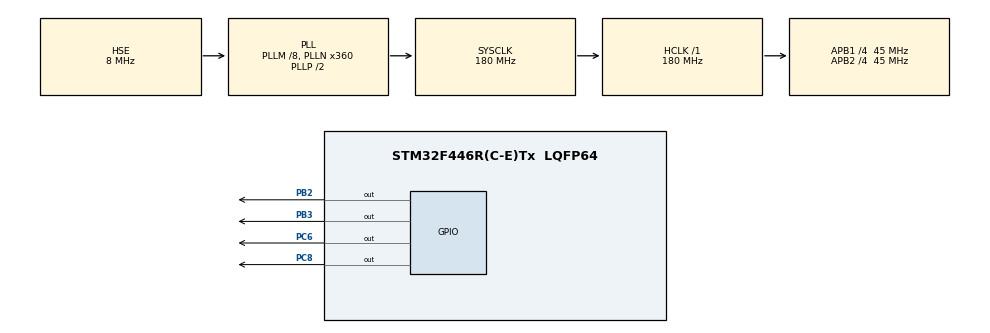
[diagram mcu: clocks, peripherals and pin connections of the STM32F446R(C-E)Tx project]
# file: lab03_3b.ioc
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FREERTOS.Tasks01=defaultTask,24,128,defaultThread,Default,NULL,Dynamic,NULL,NULL
FREERTOS.configUSE_NEWLIB_REENTRANT=1
Mcu.Family=STM32F4
Mcu.Name=STM32F446R(C-E)Tx
Mcu.Package=LQFP64
NVIC.PriorityGroup=NVIC_PRIORITYGROUP_4
NVIC.TIM7_IRQn=true\:15\:0\:false\:false\:true\:false\:false\:true\:true
NVIC.TimeBase=TIM7_IRQn
NVIC.TimeBaseIP=TIM7
PA13.Mode=Serial_Wire
PA13.Signal=SYS_JTMS-SWDIO
PA14.Mode=Serial_Wire
PA14.Signal=SYS_JTCK-SWCLK
PB2.Signal=GPIO_Output
PB3.Signal=GPIO_Output
PC6.Signal=GPIO_Output
PC8.Signal=GPIO_Output
PH0-OSC_IN.Mode=HSE-External-Oscillator
PH0-OSC_IN.Signal=RCC_OSC_IN
PH1-OSC_OUT.Mode=HSE-External-Oscillator
PH1-OSC_OUT.Signal=RCC_OSC_OUT
ProjectManager.HeapSize=0x200
ProjectManager.StackSize=0x400
ProjectManager.TargetToolchain=STM32CubeIDE
RCC.AHBFreq_Value=180000000
RCC.APB1CLKDivider=RCC_HCLK_DIV4
RCC.APB1Freq_Value=45000000
RCC.APB1TimFreq_Value=90000000
RCC.APB2CLKDivider=RCC_HCLK_DIV4
RCC.APB2Freq_Value=45000000
RCC.APB2TimFreq_Value=90000000
RCC.CortexFreq_Value=180000000
RCC.HCLKFreq_Value=180000000
RCC.HSE_VALUE=8000000
RCC.PLLM=8
RCC.PLLN=360
RCC.PLLSourceVirtual=RCC_PLLSOURCE_HSE
RCC.SYSCLKFreq_VALUE=180000000
RCC.SYSCLKSource=RCC_SYSCLKSOURCE_PLLCLK
RCC.USBFreq_Value=180000000
RCC.VCOOutputFreq_Value=360000000
TIM2.AutoReloadPreload=TIM_AUTORELOAD_PRELOAD_ENABLE
TIM2.Prescaler=9000-1
VP_FREERTOS_VS_CMSIS_V2.Mode=CMSIS_V2
VP_SYS_VS_tim7.Mode=TIM7
VP_TIM2_VS_ClockSourceINT.Mode=Internal
board=custom

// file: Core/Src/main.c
/* USER CODE BEGIN Header */
/**
  ******************************************************************************
  * @file           : main.c
  * @brief          : Main program body
  ******************************************************************************
  * @attention
  *
  * Copyright (c) 2026 STMicroelectronics.
  * All rights reserved.
  *
  * This software is licensed under terms that can be found in the LICENSE file
  * in the root directory of this software component.
  * If no LICENSE file comes with this software, it is provided AS-IS.
  *
  ******************************************************************************
  */
/* USER CODE END Header */
#include "main.h"
#include "cmsis_os.h"

TIM_HandleTypeDef htim2;

/* Definitions for defaultTask */
osThreadId_t defaultTaskHandle;
const osThreadAttr_t defaultTask_attributes = {
  .name = "defaultTask",
  .stack_size = 128 * 4,
  .priority = (osPriority_t) osPriorityNormal,
};
/* USER CODE BEGIN PV */
osThreadId_t LEDTaskHandle[4];
const osThreadAttr_t LEDTask_attributes[4] = {{
  .name = "LEDTask",
  .stack_size = 128 * 4,
  .priority = (osPriority_t) osPriorityNormal,
},{
  .name = "LEDTask",
  .stack_size = 128 * 4,
  .priority = (osPriority_t) osPriorityNormal,
},{
  .name = "LEDTask",
  .stack_size = 128 * 4,
  .priority = (osPriority_t) osPriorityNormal,
},{
  .name = "LEDTask",
  .stack_size = 128 * 4,
  .priority = (osPriority_t) osPriorityNormal,
}};

osThreadId_t pwmTaskHandle[4];
const osThreadAttr_t pwmTask_attributes[4] = {{
  .name = "pwmTask",
  .stack_size = 128 * 4,
  .priority = (osPriority_t) osPriorityLow,
  },{
    .name = "pwmTask",
    .stack_size = 128 * 4,
    .priority = (osPriority_t) osPriorityLow,
  },{
    .name = "pwmTask",
    .stack_size = 128 * 4,
    .priority = (osPriority_t) osPriorityLow,
  },{
    .name = "pwmTask",
    .stack_size = 128 * 4,
    .priority = (osPriority_t) osPriorityLow,
  }};

GPIO_TypeDef *ledPort[4] = {GPIOB,GPIOC,GPIOC,GPIOB};
int ledGPIO[4] = {GPIO_PIN_2,GPIO_PIN_6,GPIO_PIN_8,GPIO_PIN_3};
int pwm[4]={0};
int arg[4]={0,1,2,3};
int delayTable[4]={1,2,4,8};
/* USER CODE END PV */

void SystemClock_Config(void);
static void MX_GPIO_Init(void);
static void MX_TIM2_Init(void);
void defaultThread(void *argument);

/* USER CODE BEGIN PFP */
void clearTimer();
uint32_t getTimer();
void uDelay(uint32_t us);

void LEDThread(void *argument);
void pwmThread(void *argument);
/* USER CODE END PFP */

int main(void)
{

  /* USER CODE BEGIN 1 */
  int i;
  /* USER CODE END 1 */

  /* MCU Configuration--------------------------------------------------------*/

  /* Reset of all peripherals, Initializes the Flash interface and the Systick. */
  HAL_Init();

  /* Configure the system clock */
  SystemClock_Config();

  /* Initialize all configured peripherals */
  MX_GPIO_Init();
  MX_TIM2_Init();
  /* USER CODE BEGIN 2 */
  HAL_TIM_Base_Start(&htim2);
  /* USER CODE END 2 */

  /* Init scheduler */
  osKernelInitialize();

  /* Create the thread(s) */
  /* creation of defaultTask */
  defaultTaskHandle = osThreadNew(defaultThread, NULL, &defaultTask_attributes);

  /* USER CODE BEGIN RTOS_THREADS */
  /* add threads, ... */
  osThreadTerminate(defaultTaskHandle);
    for(i=0;i<4;i++){
      LEDTaskHandle[i] = osThreadNew(LEDThread, (void *)&arg[i], &LEDTask_attributes[i]);
      pwmTaskHandle[i] = osThreadNew(pwmThread, (void *)&arg[i], &pwmTask_attributes[i]);
    }
  /* USER CODE END RTOS_THREADS */

  /* USER CODE END RTOS_THREADS */

  /* Start scheduler */
  osKernelStart();

  /* We should never get here as control is now taken by the scheduler */

  /* Infinite loop */
  while (1)
  {

  }
}

void SystemClock_Config(void)
{
  RCC_OscInitTypeDef RCC_OscInitStruct = {0};
  RCC_ClkInitTypeDef RCC_ClkInitStruct = {0};

  /** Configure the main internal regulator output voltage
  */
  __HAL_RCC_PWR_CLK_ENABLE();
  __HAL_PWR_VOLTAGESCALING_CONFIG(PWR_REGULATOR_VOLTAGE_SCALE1);

  /** Initializes the RCC Oscillators according to the specified parameters
  * in the RCC_OscInitTypeDef structure.
  */
  RCC_OscInitStruct.OscillatorType = RCC_OSCILLATORTYPE_HSE;
  RCC_OscInitStruct.HSEState = RCC_HSE_ON;
  RCC_OscInitStruct.PLL.PLLState = RCC_PLL_ON;
  RCC_OscInitStruct.PLL.PLLSource = RCC_PLLSOURCE_HSE;
  RCC_OscInitStruct.PLL.PLLM = 8;
  RCC_OscInitStruct.PLL.PLLN = 360;
  RCC_OscInitStruct.PLL.PLLP = RCC_PLLP_DIV2;
  RCC_OscInitStruct.PLL.PLLQ = 2;
  RCC_OscInitStruct.PLL.PLLR = 2;
  if (HAL_RCC_OscConfig(&RCC_OscInitStruct) != HAL_OK)
  {
    Error_Handler();
  }

  /** Activate the Over-Drive mode
  */
  if (HAL_PWREx_EnableOverDrive() != HAL_OK)
  {
    Error_Handler();
  }

  /** Initializes the CPU, AHB and APB buses clocks
  */
  RCC_ClkInitStruct.ClockType = RCC_CLOCKTYPE_HCLK|RCC_CLOCKTYPE_SYSCLK
                              |RCC_CLOCKTYPE_PCLK1|RCC_CLOCKTYPE_PCLK2;
  RCC_ClkInitStruct.SYSCLKSource = RCC_SYSCLKSOURCE_PLLCLK;
  RCC_ClkInitStruct.AHBCLKDivider = RCC_SYSCLK_DIV1;
  RCC_ClkInitStruct.APB1CLKDivider = RCC_HCLK_DIV4;
  RCC_ClkInitStruct.APB2CLKDivider = RCC_HCLK_DIV4;

  if (HAL_RCC_ClockConfig(&RCC_ClkInitStruct, FLASH_LATENCY_5) != HAL_OK)
  {
    Error_Handler();
  }
}

static void MX_TIM2_Init(void)
{

  TIM_ClockConfigTypeDef sClockSourceConfig = {0};
  TIM_MasterConfigTypeDef sMasterConfig = {0};

  htim2.Instance = TIM2;
  htim2.Init.Prescaler = 9000-1;
  htim2.Init.CounterMode = TIM_COUNTERMODE_UP;
  htim2.Init.Period = 4294967295;
  htim2.Init.ClockDivision = TIM_CLOCKDIVISION_DIV1;
  htim2.Init.AutoReloadPreload = TIM_AUTORELOAD_PRELOAD_ENABLE;
  if (HAL_TIM_Base_Init(&htim2) != HAL_OK)
  {
    Error_Handler();
  }
  sClockSourceConfig.ClockSource = TIM_CLOCKSOURCE_INTERNAL;
  if (HAL_TIM_ConfigClockSource(&htim2, &sClockSourceConfig) != HAL_OK)
  {
    Error_Handler();
  }
  sMasterConfig.MasterOutputTrigger = TIM_TRGO_RESET;
  sMasterConfig.MasterSlaveMode = TIM_MASTERSLAVEMODE_DISABLE;
  if (HAL_TIMEx_MasterConfigSynchronization(&htim2, &sMasterConfig) != HAL_OK)
  {
    Error_Handler();
  }

}

static void MX_GPIO_Init(void)
{
  GPIO_InitTypeDef GPIO_InitStruct = {0};

  /* GPIO Ports Clock Enable */
  __HAL_RCC_GPIOH_CLK_ENABLE();
  __HAL_RCC_GPIOB_CLK_ENABLE();
  __HAL_RCC_GPIOC_CLK_ENABLE();
  __HAL_RCC_GPIOA_CLK_ENABLE();

  /*Configure GPIO pin Output Level */
  HAL_GPIO_WritePin(GPIOB, GPIO_PIN_2|GPIO_PIN_3, GPIO_PIN_RESET);

  /*Configure GPIO pin Output Level */
  HAL_GPIO_WritePin(GPIOC, GPIO_PIN_6|GPIO_PIN_8, GPIO_PIN_RESET);

  /*Configure GPIO pins : PB2 PB3 */
  GPIO_InitStruct.Pin = GPIO_PIN_2|GPIO_PIN_3;
  GPIO_InitStruct.Mode = GPIO_MODE_OUTPUT_PP;
  GPIO_InitStruct.Pull = GPIO_NOPULL;
  GPIO_InitStruct.Speed = GPIO_SPEED_FREQ_LOW;
  HAL_GPIO_Init(GPIOB, &GPIO_InitStruct);

  /*Configure GPIO pins : PC6 PC8 */
  GPIO_InitStruct.Pin = GPIO_PIN_6|GPIO_PIN_8;
  GPIO_InitStruct.Mode = GPIO_MODE_OUTPUT_PP;
  GPIO_InitStruct.Pull = GPIO_NOPULL;
  GPIO_InitStruct.Speed = GPIO_SPEED_FREQ_LOW;
  HAL_GPIO_Init(GPIOC, &GPIO_InitStruct);

}

/* USER CODE BEGIN 4 */
void clearTimer(){
	__HAL_TIM_SetCounter(&htim2,0);
}

uint32_t getTimer(){
	return __HAL_TIM_GetCounter(&htim2);
}

void uDelay(uint32_t us){
	uint32_t start;
	uint32_t finish = (start =__HAL_TIM_GetCounter(&htim2)) + us;
	if(start > finish){
		while(__HAL_TIM_GetCounter(&htim2)>start)
			osThreadYield(); // wait until it overruns
	}
	while(__HAL_TIM_GetCounter(&htim2)<finish)
		osThreadYield();
}

void LEDThread(void *argument)
{
  int i,tno=*(int *)argument;
  for(;;)
  {
	  for(i=0;i<100;i++){
		  pwm[tno]=i;
		  osDelay(delayTable[tno]);
	  }
	  for(i=100;i>0;i--){
		  pwm[tno]=i;
          osDelay(delayTable[tno]);
	  }
  }
}

void pwmThread(void *argument)
{
  int pOn,pOff,tno=*(int *)argument;
  for(;;)
  {
    pOn = pwm[tno]*2;
    pOff = 200-pOn;
    HAL_GPIO_WritePin(ledPort[tno],ledGPIO[tno],1);
    uDelay(pOn);
    HAL_GPIO_WritePin(ledPort[tno],ledGPIO[tno],0);
    uDelay(pOff);
  }
}
/* USER CODE END 4 */

void defaultThread(void *argument)
{
  for(;;)
  {
    osDelay(1);
  }
}

void HAL_TIM_PeriodElapsedCallback(TIM_HandleTypeDef *htim)
{
  if (htim->Instance == TIM7)
  {
    HAL_IncTick();
  }
}

void Error_Handler(void)
{
  __disable_irq();
  while (1)
  {
  }
}
